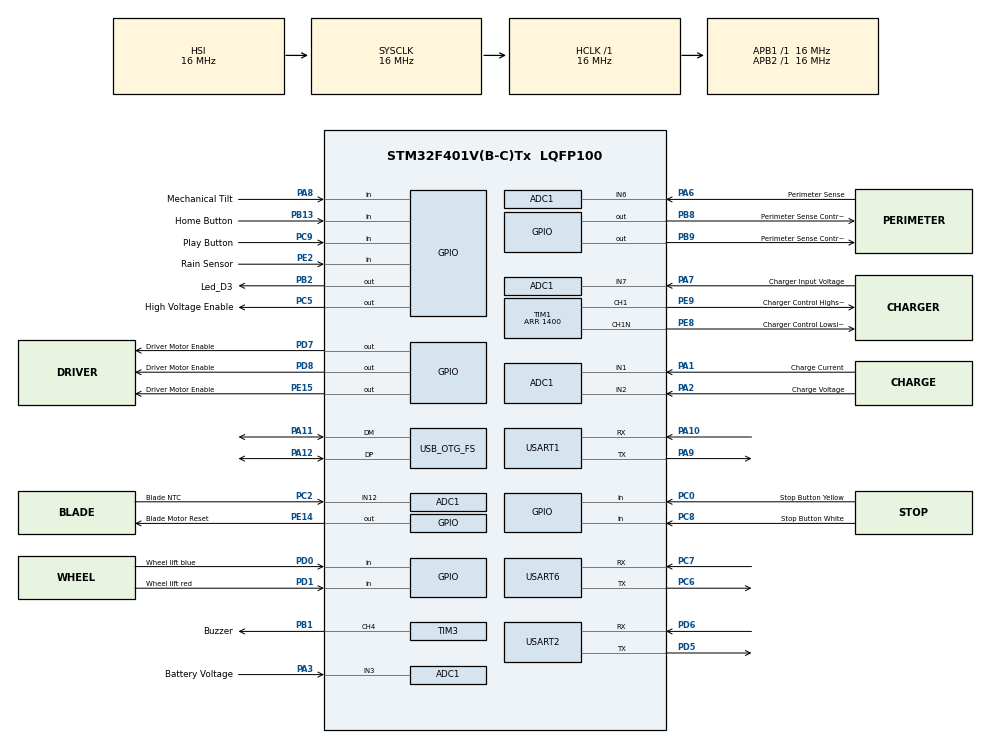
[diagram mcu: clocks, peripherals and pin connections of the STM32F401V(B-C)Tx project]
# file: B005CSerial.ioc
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ADC1.Channel-0\#ChannelRegularConversion=ADC_CHANNEL_1
ADC1.ExternalTrigConv=ADC_EXTERNALTRIGCONV_T2_TRGO
ADC1.InjNumberOfConversion=0
ADC1.NbrOfConversion=1
ADC1.NbrOfConversionFlag=1
ADC1.Rank-0\#ChannelRegularConversion=1
ADC1.SamplingTime-0\#ChannelRegularConversion=ADC_SAMPLETIME_480CYCLES
ADC1.master=1
Dma.Request0=USART2_RX
Dma.Request1=USART2_TX
Dma.Request2=USART6_RX
Dma.Request3=USART6_TX
Dma.Request4=USART1_RX
Dma.Request5=USART1_TX
Dma.USART1_RX.4.Direction=DMA_PERIPH_TO_MEMORY
Dma.USART1_RX.4.FIFOMode=DMA_FIFOMODE_DISABLE
Dma.USART1_RX.4.Instance=DMA2_Stream2
Dma.USART1_RX.4.MemDataAlignment=DMA_MDATAALIGN_BYTE
Dma.USART1_RX.4.MemInc=DMA_MINC_ENABLE
Dma.USART1_RX.4.Mode=DMA_NORMAL
Dma.USART1_RX.4.PeriphDataAlignment=DMA_PDATAALIGN_BYTE
Dma.USART1_RX.4.PeriphInc=DMA_PINC_DISABLE
Dma.USART1_RX.4.Priority=DMA_PRIORITY_LOW
Dma.USART1_TX.5.Direction=DMA_MEMORY_TO_PERIPH
Dma.USART1_TX.5.FIFOMode=DMA_FIFOMODE_DISABLE
Dma.USART1_TX.5.Instance=DMA2_Stream7
Dma.USART1_TX.5.MemDataAlignment=DMA_MDATAALIGN_BYTE
Dma.USART1_TX.5.MemInc=DMA_MINC_ENABLE
Dma.USART1_TX.5.Mode=DMA_NORMAL
Dma.USART1_TX.5.PeriphDataAlignment=DMA_PDATAALIGN_BYTE
Dma.USART1_TX.5.PeriphInc=DMA_PINC_DISABLE
Dma.USART1_TX.5.Priority=DMA_PRIORITY_LOW
Dma.USART2_RX.0.Direction=DMA_PERIPH_TO_MEMORY
Dma.USART2_RX.0.FIFOMode=DMA_FIFOMODE_DISABLE
Dma.USART2_RX.0.Instance=DMA1_Stream5
Dma.USART2_RX.0.MemDataAlignment=DMA_MDATAALIGN_BYTE
Dma.USART2_RX.0.MemInc=DMA_MINC_ENABLE
Dma.USART2_RX.0.Mode=DMA_NORMAL
Dma.USART2_RX.0.PeriphDataAlignment=DMA_PDATAALIGN_BYTE
Dma.USART2_RX.0.PeriphInc=DMA_PINC_DISABLE
Dma.USART2_RX.0.Priority=DMA_PRIORITY_LOW
Dma.USART2_TX.1.Direction=DMA_MEMORY_TO_PERIPH
Dma.USART2_TX.1.FIFOMode=DMA_FIFOMODE_DISABLE
Dma.USART2_TX.1.Instance=DMA1_Stream6
Dma.USART2_TX.1.MemDataAlignment=DMA_MDATAALIGN_BYTE
Dma.USART2_TX.1.MemInc=DMA_MINC_ENABLE
Dma.USART2_TX.1.Mode=DMA_NORMAL
Dma.USART2_TX.1.PeriphDataAlignment=DMA_PDATAALIGN_BYTE
Dma.USART2_TX.1.PeriphInc=DMA_PINC_DISABLE
Dma.USART2_TX.1.Priority=DMA_PRIORITY_LOW
Dma.USART6_RX.2.Direction=DMA_PERIPH_TO_MEMORY
Dma.USART6_RX.2.FIFOMode=DMA_FIFOMODE_DISABLE
Dma.USART6_RX.2.Instance=DMA2_Stream1
Dma.USART6_RX.2.MemDataAlignment=DMA_MDATAALIGN_BYTE
Dma.USART6_RX.2.MemInc=DMA_MINC_ENABLE
Dma.USART6_RX.2.Mode=DMA_NORMAL
Dma.USART6_RX.2.PeriphDataAlignment=DMA_PDATAALIGN_BYTE
Dma.USART6_RX.2.PeriphInc=DMA_PINC_DISABLE
Dma.USART6_RX.2.Priority=DMA_PRIORITY_LOW
Dma.USART6_TX.3.Direction=DMA_MEMORY_TO_PERIPH
Dma.USART6_TX.3.FIFOMode=DMA_FIFOMODE_DISABLE
Dma.USART6_TX.3.Instance=DMA2_Stream6
Dma.USART6_TX.3.MemDataAlignment=DMA_MDATAALIGN_BYTE
Dma.USART6_TX.3.MemInc=DMA_MINC_ENABLE
Dma.USART6_TX.3.Mode=DMA_NORMAL
Dma.USART6_TX.3.PeriphDataAlignment=DMA_PDATAALIGN_BYTE
Dma.USART6_TX.3.PeriphInc=DMA_PINC_DISABLE
Dma.USART6_TX.3.Priority=DMA_PRIORITY_LOW
Mcu.Family=STM32F4
Mcu.Name=STM32F401V(B-C)Tx
Mcu.Package=LQFP100
NVIC.ADC_IRQn=true\:0\:0\:false\:false\:true\:true\:true\:true
NVIC.DMA1_Stream5_IRQn=true\:0\:0\:false\:false\:true\:false\:true\:true
NVIC.DMA1_Stream6_IRQn=true\:0\:0\:false\:false\:true\:false\:true\:true
NVIC.DMA2_Stream1_IRQn=true\:0\:0\:false\:false\:true\:false\:true\:true
NVIC.DMA2_Stream2_IRQn=true\:0\:0\:false\:false\:true\:false\:true\:true
NVIC.DMA2_Stream6_IRQn=true\:0\:0\:false\:false\:true\:false\:true\:true
NVIC.DMA2_Stream7_IRQn=true\:0\:0\:false\:false\:true\:false\:true\:true
NVIC.OTG_FS_IRQn=true\:0\:0\:false\:false\:true\:false\:true\:true
NVIC.PriorityGroup=NVIC_PRIORITYGROUP_4
NVIC.USART2_IRQn=true\:0\:0\:false\:false\:true\:true\:true\:true
NVIC.USART6_IRQn=true\:0\:0\:false\:false\:true\:true\:true\:true
NVIC.WWDG_IRQn=true\:0\:0\:false\:false\:true\:true\:true\:true
PA1.GPIO_Label=Charge Current 
PA1.Signal=ADCx_IN1
PA10.Mode=Asynchronous
PA10.Signal=USART1_RX
PA11.Mode=Device_Only
PA11.Signal=USB_OTG_FS_DM
PA12.Mode=Device_Only
PA12.Signal=USB_OTG_FS_DP
PA2.GPIO_Label=Charge Voltage
PA2.Signal=ADCx_IN2
PA3.GPIO_Label=Battery Voltage
PA3.Signal=ADCx_IN3
PA6.GPIO_Label=Perimeter Sense
PA6.Signal=ADCx_IN6
PA7.GPIO_Label=Charger Input Voltage
PA7.Signal=ADCx_IN7
PA8.GPIO_Label=Mechanical Tilt
PA8.GPIO_PuPd=GPIO_PULLDOWN
PA8.Signal=GPIO_Input
PA9.Mode=Asynchronous
PA9.Signal=USART1_TX
PB1.GPIO_Label=Buzzer
PB1.Signal=S_TIM3_CH4
PB13.GPIO_Label=Home Button
PB13.GPIO_PuPd=GPIO_PULLUP
PB13.Signal=GPIO_Input
PB2.GPIO_Label=Led_D3
PB2.GPIO_PuPd=GPIO_PULLDOWN
PB2.Signal=GPIO_Output
PB8.GPIO_Label=Perimeter Sense Control
PB8.Signal=GPIO_Output
PB9.GPIO_Label=Perimeter Sense Control
PB9.Signal=GPIO_Output
PC0.GPIO_Label=Stop Button Yellow
PC0.GPIO_PuPd=GPIO_PULLDOWN
PC0.Signal=GPIO_Input
PC2.GPIO_Label=Blade NTC
PC2.Signal=ADCx_IN12
PC5.GPIO_Label=High Voltage Enable
PC5.GPIO_PuPd=GPIO_NOPULL
PC5.GPIO_Speed=GPIO_SPEED_FREQ_LOW
PC5.Signal=GPIO_Output
PC6.Mode=Asynchronous
PC6.Signal=USART6_TX
PC7.Mode=Asynchronous
PC7.Signal=USART6_RX
PC8.GPIO_Label=Stop Button White
PC8.GPIO_PuPd=GPIO_PULLDOWN
PC8.Signal=GPIO_Input
PC9.GPIO_Label=Play Button
PC9.GPIO_PuPd=GPIO_PULLUP
PC9.Signal=GPIO_Input
PD0.GPIO_Label=Wheel lift blue
PD0.GPIO_PuPd=GPIO_PULLDOWN
PD0.Signal=GPIO_Input
PD1.GPIO_Label=Wheel lift red
PD1.GPIO_PuPd=GPIO_PULLDOWN
PD1.Signal=GPIO_Input
PD5.Mode=Asynchronous
PD5.Signal=USART2_TX
PD6.Mode=Asynchronous
PD6.Signal=USART2_RX
PD7.GPIO_Label=Driver Motor Enable
PD7.GPIO_PuPd=GPIO_PULLUP
PD7.Signal=GPIO_Output
PD8.GPIO_Label=Driver Motor Enable
PD8.GPIO_PuPd=GPIO_PULLUP
PD8.Signal=GPIO_Output
PE14.GPIO_Label=Blade Motor Reset
PE14.GPIO_PuPd=GPIO_NOPULL
PE14.Signal=GPIO_Output
PE15.GPIO_Label=Driver Motor Enable
PE15.Signal=GPIO_Output
PE2.GPIO_Label=Rain Sensor
PE2.GPIO_PuPd=GPIO_PULLUP
PE2.Signal=GPIO_Input
PE8.GPIO_Label=Charger Control Lowside
PE8.Mode=PWM Generation1 CH1 CH1N
PE8.Signal=TIM1_CH1N
PE9.GPIO_Label=Charger Control Highside
PE9.Signal=S_TIM1_CH1
PH0\ -\ OSC_IN.Mode=HSE-External-Oscillator
PH0\ -\ OSC_IN.Signal=RCC_OSC_IN
PH1\ -\ OSC_OUT.Mode=HSE-External-Oscillator
PH1\ -\ OSC_OUT.Signal=RCC_OSC_OUT
ProjectManager.HeapSize=0x600
ProjectManager.StackSize=0x400
ProjectManager.TargetToolchain=STM32CubeIDE
RCC.48MHZClocksFreq_Value=48000000
RCC.AHBFreq_Value=16000000
RCC.APB1Freq_Value=16000000
RCC.APB2Freq_Value=16000000
RCC.CortexFreq_Value=16000000
RCC.HSE_VALUE=8000000
RCC.HSI_VALUE=16000000
RCC.LSE_VALUE=32768
RCC.PLLM=4
RCC.PLLN=72
RCC.PLLQ=3
RCC.SYSCLKFreq_VALUE=16000000
RCC.VCOOutputFreq_Value=144000000
SH.ADCx_IN1.0=ADC1_IN1,IN1
SH.ADCx_IN12.0=ADC1_IN12,IN12
SH.ADCx_IN2.0=ADC1_IN2,IN2
SH.ADCx_IN3.0=ADC1_IN3,IN3
SH.ADCx_IN6.0=ADC1_IN6,IN6
SH.ADCx_IN7.0=ADC1_IN7,IN7
SH.S_TIM1_CH1.0=TIM1_CH1,PWM Generation1 CH1 CH1N
SH.S_TIM3_CH4.0=TIM3_CH4,PWM Generation4 CH4
TIM1.AutoReloadPreload=TIM_AUTORELOAD_PRELOAD_ENABLE
TIM1.AutomaticOutput=TIM_AUTOMATICOUTPUT_ENABLE
TIM1.BreakState=TIM_BREAK_DISABLE
TIM1.Channel-PWM\ Generation1\ CH1\ CH1N=TIM_CHANNEL_1
TIM1.DeadTime=40
TIM1.LockLevel=TIM_LOCKLEVEL_1
TIM1.OffStateIDLEMode=TIM_OSSI_ENABLE
TIM1.OffStateRunMode=TIM_OSSR_ENABLE
TIM1.Period=1400
TIM1.Pulse-PWM\ Generation1\ CH1\ CH1N=120
TIM2.Channel-PWM\ Generation1\ No\ Output=TIM_CHANNEL_1
TIM2.Period=1000
TIM2.Prescaler=18
TIM2.TIM_MasterOutputTrigger=TIM_TRGO_UPDATE
TIM3.Channel-PWM\ Generation4\ CH4=TIM_CHANNEL_4
TIM3.Period=50
TIM3.Prescaler=36000
USART1.VirtualMode=VM_ASYNC
USART2.VirtualMode=VM_ASYNC
USART6.VirtualMode=VM_ASYNC
USB_DEVICE.CLASS_NAME_FS=CDC
USB_DEVICE.VirtualMode=Cdc
USB_DEVICE.VirtualModeFS=Cdc_FS
USB_OTG_FS.VirtualMode=Device_Only
VP_RTC_VS_RTC_Activate.Mode=RTC_Enabled
VP_TIM1_VS_ClockSourceINT.Mode=Internal
VP_TIM2_VS_no_output1.Mode=PWM Generation1 No Output
VP_TIM3_VS_ClockSourceINT.Mode=Internal
VP_USB_DEVICE_VS_USB_DEVICE_CDC_FS.Mode=CDC_FS
VP_WWDG_VS_WWDG.Mode=WWDG_Activate
WWDG.Counter=127
WWDG.EWIMode=WWDG_EWI_ENABLE
WWDG.Prescaler=WWDG_PRESCALER_8
WWDG.Window=127
board=custom

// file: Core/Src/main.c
/* USER CODE BEGIN Header */
/**
  ******************************************************************************
  * @file           : main.c
  * @brief          : Main program body
  ******************************************************************************
  * @attention
  *
  * Copyright (c) 2023 STMicroelectronics.
  * All rights reserved.
  *
  * This software is licensed under terms that can be found in the LICENSE file
  * in the root directory of this software component.
  * If no LICENSE file comes with this software, it is provided AS-IS.
  *
  ******************************************************************************
  */
/* USER CODE END Header */
#include "main.h"
#include "adc.h"
#include "dma.h"
#include "rtc.h"
#include "tim.h"
#include "usart.h"
#include "usb_device.h"
#include "wwdg.h"
#include "gpio.h"

/* USER CODE BEGIN Includes */
#include "usbd_cdc_if.h"
#include "drivemotor.h"
#include "blademotor.h"
#include "emergency.h"
#include "charger.h"
/* USER CODE END Includes */

/* USER CODE BEGIN PTD */
uint8_t usb_serial_command[64];
/* USER CODE END PTD */

/* USER CODE BEGIN PV */
typedef enum {
    DISARMED=0,
    ARMED
}STATE_e;

STATE_e status = DISARMED;

/* USER CODE END PV */

void SystemClock_Config(void);

int main(void)
{

  /* MCU Configuration--------------------------------------------------------*/

  /* Reset of all peripherals, Initializes the Flash interface and the Systick. */
  HAL_Init();

  /* Configure the system clock */
  SystemClock_Config();

  /* Initialize all configured peripherals */
  MX_GPIO_Init();
  MX_DMA_Init();
  MX_USB_DEVICE_Init();
  MX_USART2_UART_Init();
  MX_ADC1_Init();
  MX_TIM2_Init();
  MX_RTC_Init();
  MX_USART6_UART_Init();
  MX_TIM1_Init();
  MX_WWDG_Init();
  MX_TIM3_Init();
  MX_USART1_UART_Init();
  /* USER CODE BEGIN 2 */
  logSerial("System Boot Completed!\n");
  logSerial("Services Initializations started...\n");
  memset (usb_serial_command, '\0', 64);  // clear the buffer
  HAL_GPIO_WritePin(Led_D3_GPIO_Port, Led_D3_Pin,1);

  /* init Status update variables*/
  int cycle = 0;

  /* Enable high voltage*/
  HAL_GPIO_WritePin(High_Voltage_Enable_GPIO_Port, High_Voltage_Enable_Pin, 1);
  logSerial("High Voltage Circuit: On\n");

  /* Initialize Driver Motors ESC */
  DRIVEMOTOR_Init();
  logSerial("Driver Motors: Ready\n");
    /* Initialize Blade Motors ESC */
  BLADEMOTOR_Init();
  logSerial("Blade Motor: Ready\n");

  /* Initilize Charge Controler*/
  TIM1->CCR1 = 0;
  HAL_TIM_PWM_Start(&htim1, TIM_CHANNEL_1);
  HAL_TIMEx_PWMN_Start(&htim1, TIM_CHANNEL_1);
  logSerial("Charge Controler PWM Timers initialized!\n");

  /* Initializing Charger*/
  CHARGER_Init();

  /* Initializing Buzzer*/
  TIM3->CCR4 = 0;
  HAL_TIM_PWM_Start(&htim3, TIM_CHANNEL_4);
  BUZZER_SET(1);
  HAL_Delay (500);
  BUZZER_SET(0);
  logSerial("Buzzer initialized!\n");

  EMERGENCY_Init();
  logSerial("Services Initializations completed!\n");

  /* USER CODE END 2 */

  /* Infinite loop */
  while (1)
  {

    /* USER CODE BEGIN 3 */

    if (usb_serial_command[0] != '\0')
    {
       parseSerialCommand(usb_serial_command);
       memset (usb_serial_command, '\0', 64);  // clear buffer
    }

    ADC_Update();
    EMERGENCY_Update();
    CHARGER_Update();

    if (EMERGENCY_State())
		{
      status=DISARMED;
		}

    //Override motors command to hidle
    if(status == DISARMED){
      DRIVEMOTOR_SetSpeed(0, 0);
			BLADEMOTOR_Set(0);
    }
    DRIVEMOTOR_Run();
    BLADEMOTOR_Run();

    cycle++;
    if(cycle%10==0){  //100ms
      HAL_GPIO_TogglePin (Led_D3_GPIO_Port, Led_D3_Pin);
    }
    if(cycle%100==0){ //1s
        STATE_Send();
    }
    if(cycle>1000){
      cycle=1;
    }
    HAL_WWDG_Refresh(&hwwdg);
    HAL_Delay (10);   /* Insert delay 10 ms */

  }
  /* USER CODE END 3 */
}

void SystemClock_Config(void)
{
  RCC_OscInitTypeDef RCC_OscInitStruct = {0};
  RCC_ClkInitTypeDef RCC_ClkInitStruct = {0};

  /** Configure the main internal regulator output voltage
  */
  __HAL_RCC_PWR_CLK_ENABLE();
  __HAL_PWR_VOLTAGESCALING_CONFIG(PWR_REGULATOR_VOLTAGE_SCALE2);

  /** Initializes the RCC Oscillators according to the specified parameters
  * in the RCC_OscInitTypeDef structure.
  */
  RCC_OscInitStruct.OscillatorType = RCC_OSCILLATORTYPE_HSI|RCC_OSCILLATORTYPE_LSI
                              |RCC_OSCILLATORTYPE_HSE;
  RCC_OscInitStruct.HSEState = RCC_HSE_ON;
  RCC_OscInitStruct.HSIState = RCC_HSI_ON;
  RCC_OscInitStruct.HSICalibrationValue = RCC_HSICALIBRATION_DEFAULT;
  RCC_OscInitStruct.LSIState = RCC_LSI_ON;
  RCC_OscInitStruct.PLL.PLLState = RCC_PLL_ON;
  RCC_OscInitStruct.PLL.PLLSource = RCC_PLLSOURCE_HSE;
  RCC_OscInitStruct.PLL.PLLM = 4;
  RCC_OscInitStruct.PLL.PLLN = 72;
  RCC_OscInitStruct.PLL.PLLP = RCC_PLLP_DIV2;
  RCC_OscInitStruct.PLL.PLLQ = 3;
  if (HAL_RCC_OscConfig(&RCC_OscInitStruct) != HAL_OK)
  {
    Error_Handler();
  }

  /** Initializes the CPU, AHB and APB buses clocks
  */
  RCC_ClkInitStruct.ClockType = RCC_CLOCKTYPE_HCLK|RCC_CLOCKTYPE_SYSCLK
                              |RCC_CLOCKTYPE_PCLK1|RCC_CLOCKTYPE_PCLK2;
  RCC_ClkInitStruct.SYSCLKSource = RCC_SYSCLKSOURCE_HSI;
  RCC_ClkInitStruct.AHBCLKDivider = RCC_SYSCLK_DIV1;
  RCC_ClkInitStruct.APB1CLKDivider = RCC_HCLK_DIV1;
  RCC_ClkInitStruct.APB2CLKDivider = RCC_HCLK_DIV1;

  if (HAL_RCC_ClockConfig(&RCC_ClkInitStruct, FLASH_LATENCY_0) != HAL_OK)
  {
    Error_Handler();
  }
}

/* USER CODE BEGIN 4 */

/*
 * Log USB Serial
 */
void logSerial(uint8_t *message)
{
 CDC_Transmit_FS(message, strlen(message));
}

void parseSerialBuffer(uint8_t *buffer) {

    // Returns first token
    char* command = strtok(buffer, "\n");

    while (command != NULL) {
        parseSerialCommand(command);
        command = strtok(buffer, "\n");
    }

}

void parseSerialCommand(uint8_t *command) {
    static char buffer[50];
    if (strncmp(command, "speed:", 6) == 0) {
        float left, right;
        if(status!=ARMED){
          logSerial("Warning this command requires ARMED state\n");
        }else{
           //TODO: this is not working
          int numMatches = sscanf(command+6, "%f %f", &left, &right);
          if (numMatches == 2) {
              DRIVEMOTOR_SetSpeed(left, right);
              sprintf(buffer, "Set speed left to:%.2f and right to:%.2f.\n",left,right);
              logSerial((uint8_t *)buffer);
          } else {
              logSerial("Invalid speed command format: '"); logSerial(command); logSerial("'\n");
          }
        }
    } else if (strncmp(command, "cut", 3) == 0) {
        uint8_t charger_on_off;
        if(status!=ARMED){
          logSerial("Warning this command requires ARMED state\n");
        }else{
            int numMatches = sscanf(command+8, "%d", &charger_on_off);
            if (numMatches == 1) {
                BLADEMOTOR_Set(charger_on_off);
                sprintf(buffer, "Set charger:%d\n",charger_on_off);
                logSerial((uint8_t *)buffer);
            } else {
                logSerial("Invalid speed command format: '"); logSerial(command); logSerial("'\n");
            }
        }
    } else if (strncmp(command, "arm", 3) == 0) {
        status=ARMED;
    } else if (strncmp(command, "charger:", 8) == 0) {
        uint8_t charger_on_off;
        int numMatches = sscanf(command+8, "%d", &charger_on_off);
        if (numMatches == 1) {
            CHARGER_Set(charger_on_off);
            sprintf(buffer, "Set charger:%d\n",charger_on_off);
            logSerial((uint8_t *)buffer);
        } else {
            logSerial("Invalid speed command format: '"); logSerial(command); logSerial("'\n");
        }
    } else if (strncmp(command, "halt", 4) == 0) {
        status=DISARMED;
        logSerial("Ack! Halting!");
    } else if (strncmp(command, "ack", 3) == 0) {
       EMERGENCY_SerialAck();
    } else {
        logSerial("Unknown command:'"); logSerial(command); logSerial("'\n");
    }
}

int RAIN_Sense(void)
{
  return (!HAL_GPIO_ReadPin(Rain_Sensor_GPIO_Port, Rain_Sensor_Pin)); // pullup, active low
}

int BUTTON_Home(void)
{
  return (!HAL_GPIO_ReadPin(Home_Button_GPIO_Port, Home_Button_Pin)); // pullup, active low
}

int BUTTON_Play(void)
{
  return (!HAL_GPIO_ReadPin(Play_Button_GPIO_Port, Play_Button_Pin)); // pullup, active low
}

void BUZZER_SET(uint8_t on_off){

      if (on_off)
      {
        TIM3->CCR4 = 10; // chirp on
      }else{
        TIM3->CCR4 = 0; // chirp off
      }
    }

void STATE_Send() {

  static char status_buffer[250];
  sprintf(status_buffer, "{\
'state':%d,\
'emergency':%d,\
'blade_state':%d,\
'blade_temp': %.2f\
'rain':%d,\
'home':%d,\
'play':%d,\
'battery_v': %.2f, \
'charger_state:' %d,\
'charger_v': %.2f\
'charger_a': %.2f,\
}\n",status,EMERGENCY_State(),blademotor_eState,blade_temperature,RAIN_Sense(),BUTTON_Home(),BUTTON_Play(),battery_voltage,charger_state,chargerInputVoltage,current);

  logSerial((uint8_t *)status_buffer);

}

/* USER CODE END 4 */

void Error_Handler(void)
{
  __disable_irq();
  while (1)
  {
  }
}
